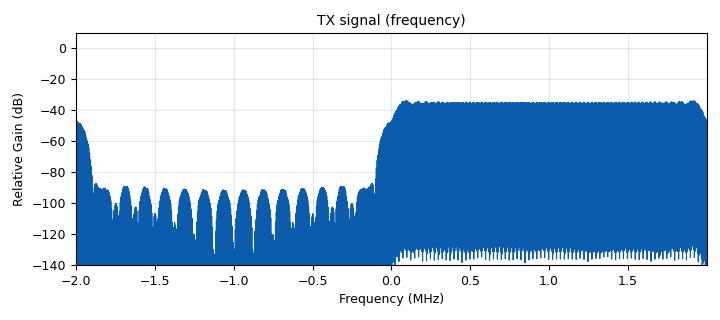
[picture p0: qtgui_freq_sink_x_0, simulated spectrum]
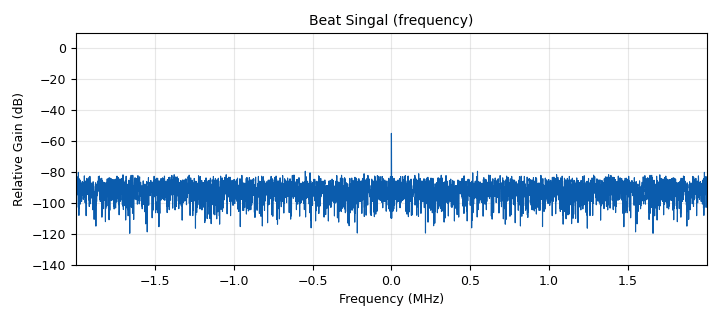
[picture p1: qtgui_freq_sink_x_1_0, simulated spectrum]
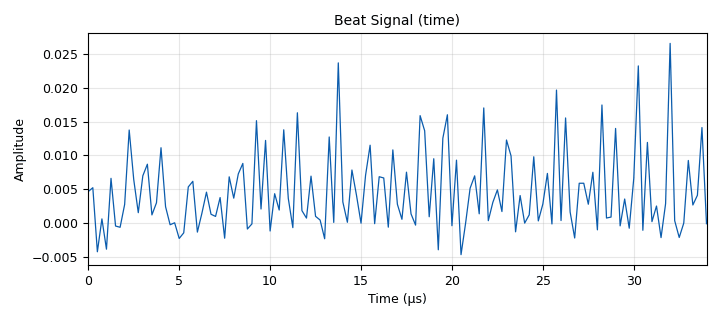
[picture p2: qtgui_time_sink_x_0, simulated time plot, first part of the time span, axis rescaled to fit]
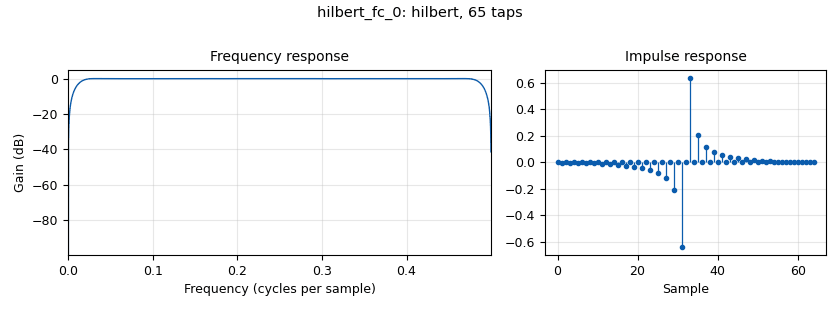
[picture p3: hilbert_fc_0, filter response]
options:
  parameters:
    generate_options: qt_gui
    id: top_block_sim
    output_language: python
    title: Chirp Radar Simulation
  states: {}

blocks:
- name: Max_Delta_Freq
  id: variable
  parameters:
    value: PRF*2*Max_Range*bw*1e8/(3e8)
  states: {}
- name: Max_Range
  id: variable
  parameters:
    value: 0.5*3e8/PRF
  states: {}
- name: Min_Delta_Freq
  id: variable
  parameters:
    value: PRF*2*R_resolution*bw*1e8/(3e8)
  states: {}
- name: PRF
  id: variable
  parameters:
    value: '5000'
  states: {}
- name: R_resolution
  id: variable
  parameters:
    value: (3e8)/(2*bw*1e8)
  states: {}
- name: bw
  id: variable
  parameters:
    value: '0.02'
  states: {}
- name: fft_size
  id: variable
  parameters:
    value: int(8192)
  states: {}
- name: input_d
  id: variable_qtgui_range
  parameters:
    label: Simulated Range
    orient: Qt.Horizontal
    start: '0'
    step: '0.1'
    stop: '600'
    value: '10'
  states: {}
- name: samp_rate
  id: variable
  parameters:
    value: '4000000'
  states: {}
- name: analog_noise_source_x_0
  id: analog_noise_source_x
  parameters:
    amp: '0.01'
    noise_type: analog.GR_GAUSSIAN
    seed: '0'
    type: complex
  states: {}
- name: analog_sig_source_x_0
  id: analog_sig_source_x
  parameters:
    amp: '1'
    freq: PRF
    offset: '0'
    phase: '0'
    samp_rate: samp_rate
    type: float
    waveform: analog.GR_SAW_WAVE
  states: {}
- name: blocks_add_xx_0
  id: blocks_add_xx
  parameters:
    type: complex
  states: {}
- name: blocks_complex_to_real_0
  id: blocks_complex_to_real
  parameters: {}
  states: {}
- name: blocks_complex_to_real_0_0
  id: blocks_complex_to_real
  parameters: {}
  states: {}
- name: blocks_delay_0
  id: blocks_delay
  parameters:
    delay: int(2*input_d*samp_rate/300000000)
    type: complex
  states: {}
- name: blocks_multiply_const_vxx_0
  id: blocks_multiply_const_vxx
  parameters:
    const: '0.01'
    type: complex
  states: {}
- name: blocks_multiply_xx_0
  id: blocks_multiply_xx
  parameters:
    type: float
  states: {}
- name: blocks_stream_to_vector_0
  id: blocks_stream_to_vector
  parameters:
    num_items: fft_size
    type: float
  states: {}
- name: blocks_throttle_0
  id: blocks_throttle
  parameters:
    samples_per_second: samp_rate
    type: float
  states: {}
- name: blocks_vco_f_0
  id: blocks_vco_f
  parameters:
    amplitude: '1'
    samp_rate: samp_rate
    sensitivity: int(bw*628000000)
  states: {}
- name: chirp_radar_max_freq_peak_detector_ff_0
  id: chirp_radar_max_freq_peak_detector_ff
  parameters:
    f_max: '100000000'
    f_min: '0'
    fft_size: fft_size
    sampling_rate: samp_rate
  states: {}
- name: chirp_radar_range_calc_ff_0
  id: chirp_radar_range_calc_ff
  parameters:
    bandwidth: bw*1e8
    chirp_period: 1/PRF
  states: {}
- name: hilbert_fc_0
  id: hilbert_fc
  parameters:
    num_taps: '64'
    win: firdes.WIN_HAMMING
  states: {}
- name: qtgui_freq_sink_x_0
  id: qtgui_freq_sink_x
  parameters:
    average: '0.1'
    bw: samp_rate
    fc: '0'
    fftsize: '10240'
    name: '"TX signal (frequency)"'
    type: complex
    wintype: firdes.WIN_BLACKMAN_hARRIS
  states: {}
- name: qtgui_freq_sink_x_1_0
  id: qtgui_freq_sink_x
  parameters:
    bw: samp_rate
    fc: '0'
    fftsize: int(16383/2)
    name: '"Beat Singal (frequency)"'
    type: float
    wintype: firdes.WIN_BLACKMAN_hARRIS
  states: {}
- name: qtgui_time_sink_x_0
  id: qtgui_time_sink_x
  parameters:
    name: '"Beat Signal (time)"'
    size: '10240'
    srate: samp_rate
    type: float
  states: {}
- name: qtgui_time_sink_x_0_0
  id: qtgui_time_sink_x
  parameters:
    autoscale: 'True'
    grid: 'True'
    name: '"Range"'
    size: '10'
    srate: samp_rate/fft_size
    type: float
    ylabel: Distance
  states: {}

connections:
- [analog_noise_source_x_0, '0', blocks_add_xx_0, '1']
- [analog_sig_source_x_0, '0', blocks_vco_f_0, '0']
- [blocks_add_xx_0, '0', blocks_complex_to_real_0_0, '0']
- [blocks_complex_to_real_0, '0', blocks_multiply_xx_0, '0']
- [blocks_complex_to_real_0_0, '0', blocks_multiply_xx_0, '1']
- [blocks_delay_0, '0', blocks_multiply_const_vxx_0, '0']
- [blocks_multiply_const_vxx_0, '0', blocks_add_xx_0, '0']
- [blocks_multiply_xx_0, '0', blocks_stream_to_vector_0, '0']
- [blocks_multiply_xx_0, '0', qtgui_freq_sink_x_1_0, '0']
- [blocks_multiply_xx_0, '0', qtgui_time_sink_x_0, '0']
- [blocks_stream_to_vector_0, '0', chirp_radar_max_freq_peak_detector_ff_0, '0']
- [blocks_throttle_0, '0', hilbert_fc_0, '0']
- [blocks_vco_f_0, '0', blocks_throttle_0, '0']
- [chirp_radar_max_freq_peak_detector_ff_0, '0', chirp_radar_range_calc_ff_0, '0']
- [chirp_radar_range_calc_ff_0, '0', qtgui_time_sink_x_0_0, '0']
- [hilbert_fc_0, '0', blocks_complex_to_real_0, '0']
- [hilbert_fc_0, '0', blocks_delay_0, '0']
- [hilbert_fc_0, '0', qtgui_freq_sink_x_0, '0']

metadata:
  file_format: 1
